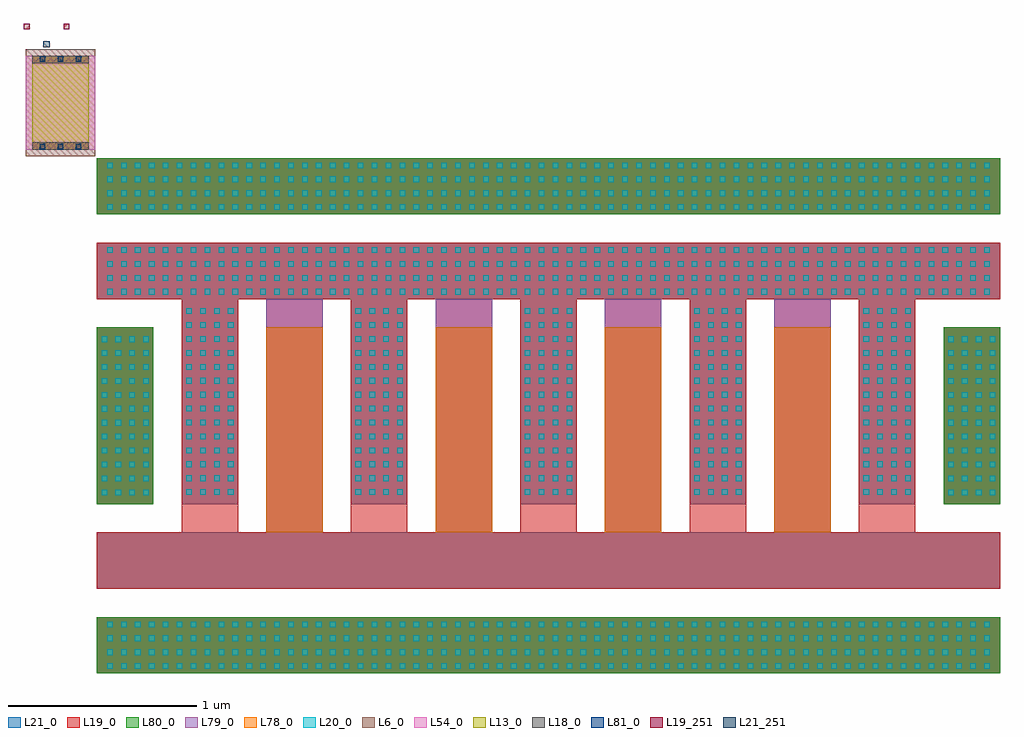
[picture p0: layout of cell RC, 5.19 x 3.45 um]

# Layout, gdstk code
import gdstk
lib = gdstk.Library(unit=1e-6, precision=1e-09)
def R(c, l, rs):  # rectangles x0, y0, x1, y1
    for r in rs: c.add(gdstk.rectangle(r[:2], r[2:], *l))
def A(c, l, x, y, w, h, nx, ny, dx, dy):  # array of equal rectangles
    R(c, l, [(x+i*dx, y+j*dy, x+i*dx+w, y+j*dy+h) for i in range(nx) for j in range(ny)])
L6_0 = (6, 0)
L13_0 = (13, 0)
L18_0 = (18, 0)
L19_0 = (19, 0)
L19_251 = (19, 251)
L20_0 = (20, 0)
L21_0 = (21, 0)
L21_251 = (21, 251)
L54_0 = (54, 0)
L78_0 = (78, 0)
L79_0 = (79, 0)
L80_0 = (80, 0)
L81_0 = (81, 0)

contact_pcell_f267 = lib.new_cell('Contact_pcell_f267')
R(contact_pcell_f267, L19_0, [(-0.024,-0.019,4.776,0.281)])
A(contact_pcell_f267, L20_0, 0.03, 0.005, 0.03, 0.03, 64, 4, 0.074, 0.074)
R(contact_pcell_f267, L21_0, [(-0.024,-0.019,4.776,0.281)])

abutcontact_pcell_3aa8 = lib.new_cell('AbutContact_pcell_3aa8')
R(abutcontact_pcell_3aa8, L19_0, [(-0.019,-0.005,0.281,1.085)])
A(abutcontact_pcell_3aa8, L20_0, 0.005, 0.044, 0.03, 0.03, 4, 14, 0.074, 0.074)
R(abutcontact_pcell_3aa8, L21_0, [(-0.019,-0.005,0.281,1.085)])

contact_pcell_871f = lib.new_cell('Contact_pcell_871f')
R(contact_pcell_871f, L19_0, [(-0.024,-0.019,4.776,0.281)])
A(contact_pcell_871f, L20_0, 0.03, 0.005, 0.03, 0.03, 64, 4, 0.074, 0.074)
R(contact_pcell_871f, L21_0, [(-0.024,-0.019,4.776,0.281)])
R(contact_pcell_871f, L80_0, [(-0.024,-0.019,4.776,0.281)])

contact_pcell_2a18 = lib.new_cell('Contact_pcell_2a18')
R(contact_pcell_2a18, L19_0, [(-0.019,-0.018,0.281,0.922)])
A(contact_pcell_2a18, L20_0, 0.005, 0.03, 0.03, 0.03, 4, 12, 0.074, 0.074)
R(contact_pcell_2a18, L21_0, [(-0.019,-0.018,0.281,0.922)])
R(contact_pcell_2a18, L80_0, [(-0.019,-0.018,0.281,0.922)])

ccap_pcell_32a5 = lib.new_cell('Ccap_pcell_32a5')
A(ccap_pcell_32a5, L19_0, 0.45, 0.3, 0.3, 1.24, 9, 1, 0.45, 0)
R(ccap_pcell_32a5, L19_0, [(0,-0.45,4.8,-0.15), (0,0,4.8,0.3), (0,0.45,0.3,1.39), (4.5,0.45,4.8,1.39), (0,1.54,4.8,1.84), (0,1.54,4.8,1.84), (0,1.99,4.8,2.29)])
A(ccap_pcell_32a5, L21_0, 0.9, 0.3, 0.3, 1.09, 4, 1, 0.9, 0)
A(ccap_pcell_32a5, L21_0, 0.45, 0.45, 0.3, 1.09, 5, 1, 0.9, 0)
R(ccap_pcell_32a5, L21_0, [(0,-0.45,4.8,-0.15), (0,0,4.8,0.3), (0,0,4.8,0.3), (0,0.45,0.3,1.39), (4.5,0.45,4.8,1.39), (0,1.54,4.8,1.84), (0,1.54,4.8,1.84), (0,1.99,4.8,2.29)])
A(ccap_pcell_32a5, L78_0, 0.9, 0.3, 0.3, 1.09, 4, 1, 0.9, 0)
A(ccap_pcell_32a5, L79_0, 0.9, 0.3, 0.3, 1.24, 4, 1, 0.9, 0)
ccap_pcell_32a5.add(gdstk.Reference(contact_pcell_f267, (0.024,1.559)))
ccap_pcell_32a5.add(gdstk.Reference(abutcontact_pcell_3aa8, (4.069,0.455)))
ccap_pcell_32a5.add(gdstk.Reference(abutcontact_pcell_3aa8, (3.169,0.455)))
ccap_pcell_32a5.add(gdstk.Reference(abutcontact_pcell_3aa8, (2.269,0.455)))
ccap_pcell_32a5.add(gdstk.Reference(abutcontact_pcell_3aa8, (1.369,0.455)))
ccap_pcell_32a5.add(gdstk.Reference(abutcontact_pcell_3aa8, (0.469,0.455)))
ccap_pcell_32a5.add(gdstk.Reference(contact_pcell_871f, (0.024,-0.431)))
ccap_pcell_32a5.add(gdstk.Reference(contact_pcell_871f, (0.024,2.009)))
ccap_pcell_32a5.add(gdstk.Reference(contact_pcell_2a18, (4.519,0.468)))
ccap_pcell_32a5.add(gdstk.Reference(contact_pcell_2a18, (0.019,0.468)))

rppoly_pcell_7c4f = lib.new_cell('rppoly_pcell_7c4f')
R(rppoly_pcell_7c4f, L6_0, [(-0.184,-0.034,0.184,0.534)])
R(rppoly_pcell_7c4f, L13_0, [(-0.15,0,0.15,0.5)])
R(rppoly_pcell_7c4f, L18_0, [(-0.15,0,0.15,0.04), (-0.15,0.46,0.15,0.5)])
R(rppoly_pcell_7c4f, L19_0, [(-0.15,0,0.15,0.04), (-0.15,0,0.15,0.04), (-0.15,0.46,0.15,0.5), (-0.15,0.46,0.15,0.5)])
R(rppoly_pcell_7c4f, L54_0, [(-0.184,0,0.184,0.5)])
A(rppoly_pcell_7c4f, L81_0, -0.11, 0.003, 0.03, 0.03, 3, 2, 0.095, 0.464)

c_rc = lib.new_cell('RC')
R(c_rc, L19_251, [(0,0.097,0.03,0.127), (0.21,0.097,0.24,0.127)])
R(c_rc, L21_251, [(0.103,0,0.137,0.034)])
c_rc.add(gdstk.Reference(ccap_pcell_32a5, (0.388,-2.878)))
c_rc.add(gdstk.Reference(rppoly_pcell_7c4f, (0.194,-0.544)))

lib.write_gds('RC.gds')
